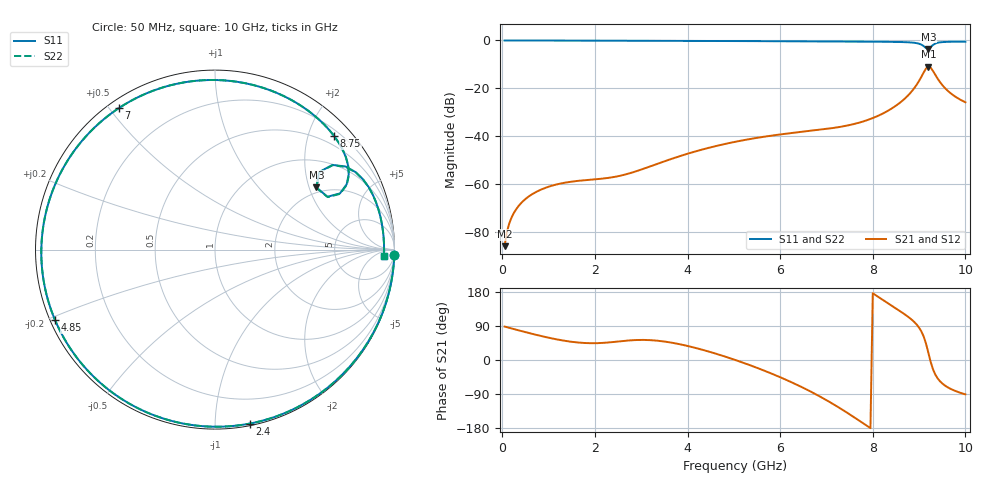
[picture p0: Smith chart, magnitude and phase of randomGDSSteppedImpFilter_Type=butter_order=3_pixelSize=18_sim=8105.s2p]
! freq	dB(S11)	phase(S11)	dB(S12)	phase(S12)
!  dB(S21)	phase(S21)	dB(S22)	phase(S22)
!S-par simulation data
#  GHz  S  DB  R 50
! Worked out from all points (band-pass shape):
!   200 points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, 50 MHz to 10 GHz, reference 50 ohm
!   highest |S21| = -10.89 dB at 9.2 GHz (marker M1); lowest = -85.9 dB at 50 MHz (marker M2)
!   |S21| within 3 dB of the highest: 9.085 GHz to 9.336 GHz (250.9 MHz wide, 2.72 % of centre)
!   lowest |S11| = -3.6 dB at 9.2 GHz (marker M3), VSWR 4.92, Z = 90.8 + j112 ohm
!   |S11| at or under -10 dB: nowhere
!   |S22| runs from -3.6 to 0.0 dB; largest |S21 - S12| = 0
!   S11 on the Smith chart (normalised r, x): 50 MHz: 1, -67; 2.4 GHz: 0.01, -1.22; 4.85 GHz: 0.01, -0.21; 7 GHz: 0.03, +0.53; 8.75 GHz: 0.31, +2.46; 10 GHz: 24, -15
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0.05  -0.00 -1.7  -85.85 88.2  -85.85 88.2  -0.00 -1.7
0.1  -0.01 -3.4  -79.86 86.5  -79.86 86.5  -0.01 -3.4
0.3  -0.01 -10.1  -70.43 80.0  -70.43 80.0  -0.01 -10.1
0.6  -0.02 -20.1  -64.73 70.4  -64.73 70.4  -0.02 -20.1
1.1  -0.04 -36.7  -60.45 56.2  -60.45 56.2  -0.04 -36.7
1.75  -0.07 -57.8  -58.38 45.0  -58.38 45.0  -0.07 -57.8
2.4  -0.10 -78.6  -57.03 47.5  -57.03 47.5  -0.10 -78.6
3.4  -0.14 -110.1  -51.14 50.3  -51.14 50.3  -0.14 -110.1
4.85  -0.23 -156.3  -43.02 7.5  -43.02 7.5  -0.23 -156.4
5.05  -0.25 -163.0  -42.21 -0.7  -42.21 -0.7  -0.25 -163.1
5.9  -0.32 167.3  -39.48 -40.2  -39.48 -40.2  -0.32 167.2
6.7  -0.39 136.6  -37.62 -85.9  -37.62 -85.9  -0.39 136.5
7  -0.42 124.3  -36.92 -106.0  -36.92 -106.0  -0.42 124.1
7.7  -0.48 93.8  -34.34 -159.4  -34.34 -159.4  -0.48 93.7
8.35  -0.57 63.7  -29.10 147.9  -29.10 147.9  -0.57 63.5
8.75  -0.75 43.8  -23.18 115.2  -23.18 115.2  -0.75 43.6
9  -1.36 29.4  -16.86 85.4  -16.86 85.4  -1.36 29.2
9.1  -2.35 24.2  -13.34 61.8  -13.34 61.8  -2.35 24.0
9.2  -3.58 31.5  -10.89 19.3  -10.89 19.3  -3.58 31.3
9.35  -1.28 32.4  -14.36 -38.3  -14.36 -38.3  -1.28 32.3
9.6  -0.58 16.5  -20.65 -70.7  -20.65 -70.7  -0.58 16.3
10  -0.52 -2.1  -25.80 -90.7  -25.80 -90.7  -0.52 -2.3
